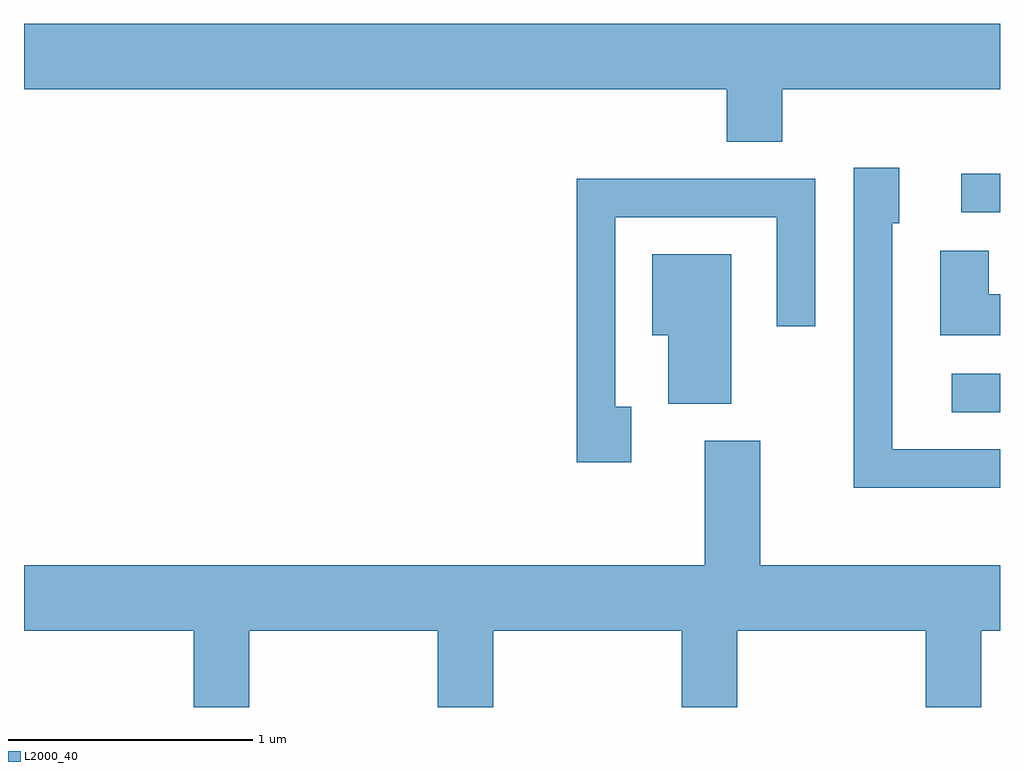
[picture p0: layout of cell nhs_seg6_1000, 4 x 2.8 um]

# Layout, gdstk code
import gdstk
lib = gdstk.Library(unit=1e-6, precision=1e-09)
def R(c, l, rs):  # rectangles x0, y0, x1, y1
    for r in rs: c.add(gdstk.rectangle(r[:2], r[2:], *l))
def P(c, l, *ps):  # polygons
    for p in ps: c.add(gdstk.Polygon(p, *l))
L2000_40 = (2000, 40)

nhs_seg6_1000 = lib.new_cell('nhs_seg6_1000')
R(nhs_seg6_1000, L2000_40, [(219.413,1555.371,219.611,1555.529), (219.453,1556.191,219.611,1556.349)])
P(nhs_seg6_1000, L2000_40, [(218.719,1556.696),(219.611,1556.696),(219.611,1556.964),(215.611,1556.964),(215.611,1556.696),(218.491,1556.696),(218.491,1556.481),(218.719,1556.481)],
  [(219.611,1555.219),(219.169,1555.219),(219.169,1556.146),(219.199,1556.146),(219.199,1556.374),(219.011,1556.374),(219.011,1555.061),(219.611,1555.061)],
  [(218.099,1555.394),(218.034,1555.394),(218.034,1556.171),(218.696,1556.171),(218.696,1555.723),(218.854,1555.723),(218.854,1556.329),(217.876,1556.329),(217.876,1555.166),(218.099,1555.166)],
  [(219.611,1555.854),(219.564,1555.854),(219.564,1556.034),(219.366,1556.034),(219.366,1555.686),(219.611,1555.686)],
  [(218.509,1556.019),(218.186,1556.019),(218.186,1555.686),(218.251,1555.686),(218.251,1555.406),(218.509,1555.406)],
  [(216.534,1554.476),(217.306,1554.476),(217.306,1554.162),(217.534,1554.162),(217.534,1554.476),(218.306,1554.476),(218.306,1554.162),(218.534,1554.162),(218.534,1554.476),(219.306,1554.476),(219.306,1554.162),(219.534,1554.162),(219.534,1554.476),(219.611,1554.476),(219.611,1554.744),(218.629,1554.744),(218.629,1555.254),(218.401,1555.254),(218.401,1554.744),(215.611,1554.744),(215.611,1554.476),(216.306,1554.476),(216.306,1554.162),(216.534,1554.162)])

lib.write_gds('nhs_seg6_1000.gds')
